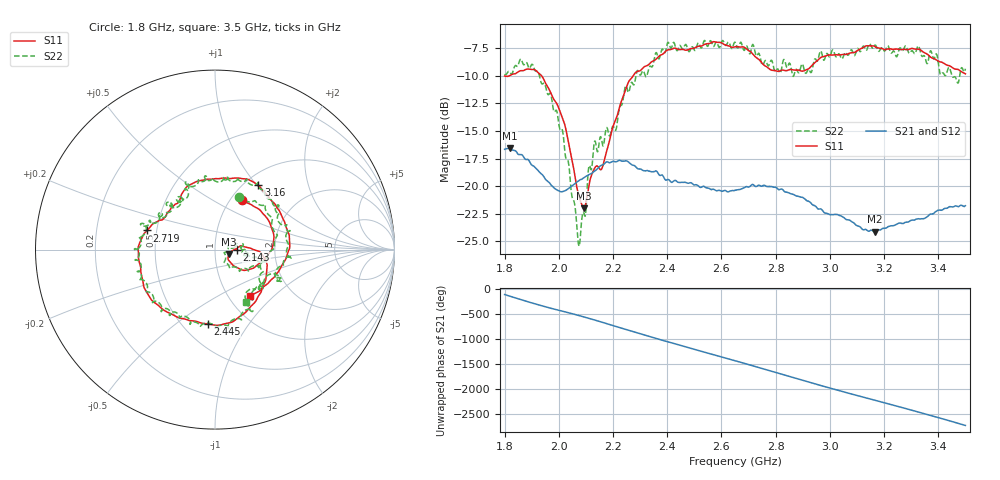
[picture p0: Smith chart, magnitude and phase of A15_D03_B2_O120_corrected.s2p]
! Created with skrf 1.9.0 (http://scikit-rf.org).
# Hz S RI R 50.0
!freq ReS11 ImS11 ReS21 ImS21 ReS12 ImS12 ReS22 ImS22
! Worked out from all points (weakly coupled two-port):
!   1601 points, 1.8 GHz to 3.5 GHz, reference 50 ohm
!   highest |S21| = -16.57 dB at 1.818 GHz (marker M1); lowest = -24.1 dB at 3.165 GHz (marker M2)
!   lowest |S11| = -22.0 dB at 2.092 GHz (marker M3), VSWR 1.17, Z = 58.1 - j2.9 ohm
!   |S11| at or under -10 dB: start of sweep to 1.817 GHz; 1.936 GHz to 2.274 GHz (337.9 MHz wide, 16 % of centre)
!   |S22| runs from -25.4 to -6.8 dB; largest |S21 - S12| = 0.0026
!   S11 on the Smith chart (normalised r, x): 1.8 GHz: 1.12, +0.69; 2.143 GHz: 1.28, -0.00; 2.445 GHz: 0.66, -0.66; 2.719 GHz: 0.44, +0.11; 3.16 GHz: 1.16, +1.02; 3.5 GHz: 1.26, -0.72
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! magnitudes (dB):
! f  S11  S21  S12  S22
! 1.8 GHz  -10.0  -16.7  -16.7  -9.8
! 1.818 GHz  -10.0  -16.6  -16.6  -9.6
! 1.903 GHz  -9.4  -18.1  -18.1  -9.0
! 1.968 GHz  -11.4  -19.8  -19.8  -11.6
! 2.014 GHz  -13.8  -20.5  -20.5  -15.0
! 2.071 GHz  -20.6  -19.5  -19.6  -24.9
! 2.084 GHz  -21.6  -19.4  -19.3  -23.2
! 2.092 GHz  -22.0  -19.2  -19.3  -22.4
! 2.112 GHz  -19.7  -18.9  -18.9  -18.1
! 2.143 GHz  -18.2  -18.4  -18.4  -16.9
! 2.209 GHz  -14.0  -17.8  -17.7  -14.9
! 2.259 GHz  -10.5  -17.8  -17.8  -11.4
! 2.367 GHz  -8.3  -18.9  -18.8  -8.4
! 2.445 GHz  -7.6  -19.7  -19.6  -7.3
! 2.65 GHz  -7.4  -20.4  -20.3  -6.9
! 2.719 GHz  -8.1  -19.9  -19.8  -7.3
! 2.803 GHz  -9.6  -20.1  -20.2  -9.5
! 2.934 GHz  -9.1  -21.6  -21.6  -9.5
! 3.16 GHz  -7.3  -24.1  -24.0  -7.4
! 3.165 GHz  -7.3  -24.1  -24.1  -7.2
! 3.217 GHz  -7.6  -23.6  -23.6  -7.4
! 3.5 GHz  -9.8  -21.8  -21.8  -9.4
